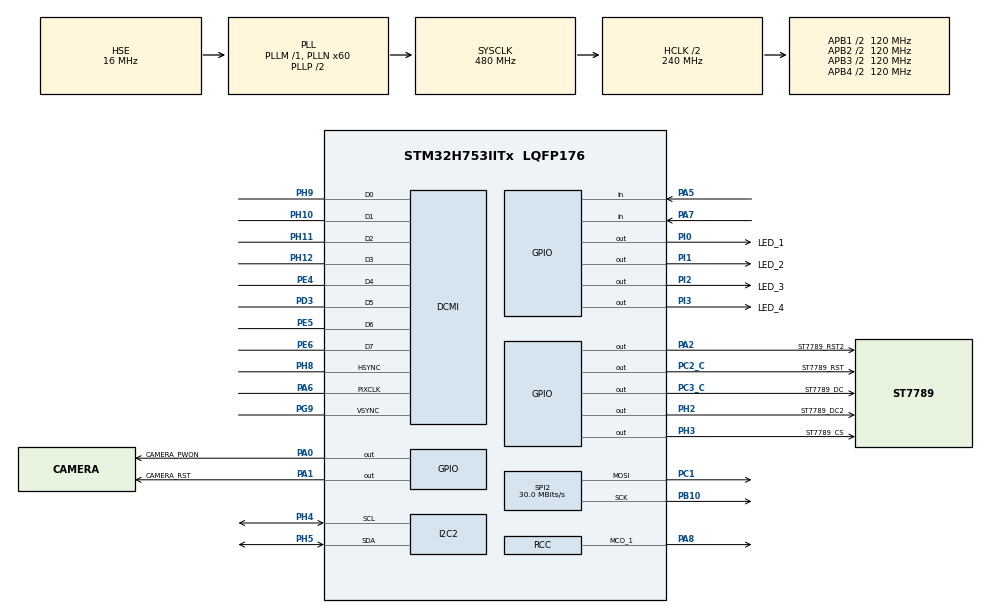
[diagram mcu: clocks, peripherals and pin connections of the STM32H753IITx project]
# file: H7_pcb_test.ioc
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CORTEX_M7.CPU_DCache=Enabled
CORTEX_M7.CPU_ICache=Enabled
Dma.DCMI.0.Direction=DMA_PERIPH_TO_MEMORY
Dma.DCMI.0.EventEnable=DISABLE
Dma.DCMI.0.FIFOMode=DMA_FIFOMODE_ENABLE
Dma.DCMI.0.FIFOThreshold=DMA_FIFO_THRESHOLD_FULL
Dma.DCMI.0.Instance=DMA2_Stream3
Dma.DCMI.0.MemBurst=DMA_MBURST_SINGLE
Dma.DCMI.0.MemDataAlignment=DMA_MDATAALIGN_WORD
Dma.DCMI.0.MemInc=DMA_MINC_ENABLE
Dma.DCMI.0.Mode=DMA_CIRCULAR
Dma.DCMI.0.PeriphBurst=DMA_PBURST_SINGLE
Dma.DCMI.0.PeriphDataAlignment=DMA_PDATAALIGN_WORD
Dma.DCMI.0.PeriphInc=DMA_PINC_DISABLE
Dma.DCMI.0.Polarity=HAL_DMAMUX_REQ_GEN_RISING
Dma.DCMI.0.Priority=DMA_PRIORITY_HIGH
Dma.DCMI.0.RequestNumber=1
Dma.DCMI.0.SignalID=NONE
Dma.DCMI.0.SyncEnable=DISABLE
Dma.DCMI.0.SyncPolarity=HAL_DMAMUX_SYNC_NO_EVENT
Dma.DCMI.0.SyncRequestNumber=1
Dma.DCMI.0.SyncSignalID=NONE
Dma.Request0=DCMI
I2C2.Timing=0x307075B1
Mcu.Family=STM32H7
Mcu.Name=STM32H753IITx
Mcu.Package=LQFP176
NVIC.DCMI_IRQn=true\:0\:0\:false\:false\:true\:true\:true
NVIC.DMA2D_IRQn=true\:0\:0\:false\:false\:true\:true\:true
NVIC.DMA2_Stream3_IRQn=true\:0\:0\:false\:false\:true\:false\:true
NVIC.PriorityGroup=NVIC_PRIORITYGROUP_4
NVIC.RCC_IRQn=true\:0\:0\:false\:false\:true\:true\:false
NVIC.SPI2_IRQn=true\:0\:0\:false\:false\:true\:true\:true
PA0.GPIO_Label=CAMERA_PWON
PA0.Signal=GPIO_Output
PA1.GPIO_Label=CAMERA_RST
PA1.PinState=GPIO_PIN_SET
PA1.Signal=GPIO_Output
PA10.Signal=USART1_RX
PA13\ (JTMS/SWDIO).Mode=Trace_Asynchronous_SW
PA13\ (JTMS/SWDIO).Signal=DEBUG_JTMS-SWDIO
PA14\ (JTCK/SWCLK).Mode=Trace_Asynchronous_SW
PA14\ (JTCK/SWCLK).Signal=DEBUG_JTCK-SWCLK
PA2.GPIO_Label=ST7789_RST2
PA2.GPIO_Speed=GPIO_SPEED_FREQ_VERY_HIGH
PA2.Signal=GPIO_Output
PA4.Signal=COMP_DAC11_group
PA5.Signal=GPIO_Input
PA6.Mode=Slave_8_bits_External_Synchro
PA6.Signal=DCMI_PIXCLK
PA7.Signal=GPIO_Input
PA8.GPIO_Speed=GPIO_SPEED_FREQ_VERY_HIGH
PA8.Mode=Clock-out-1
PA8.Signal=RCC_MCO_1
PA9.Signal=USART1_TX
PB0.Signal=ADCx_INN5
PB1.Signal=ADCx_INP5
PB10.GPIO_Speed=GPIO_SPEED_FREQ_VERY_HIGH
PB10.Mode=TX_Only_Simplex_Unidirect_Master
PB10.Signal=SPI2_SCK
PB14.Signal=USB_OTG_HS_DM
PB15.Signal=USB_OTG_HS_DP
PB3\ (JTDO/TRACESWO).Mode=Trace_Asynchronous_SW
PB3\ (JTDO/TRACESWO).Signal=DEBUG_JTDO-SWO
PB4\ (NJTRST).GPIO_Speed=GPIO_SPEED_FREQ_VERY_HIGH
PB4\ (NJTRST).Signal=SPI1_MISO
PB6.GPIO_Speed=GPIO_SPEED_FREQ_VERY_HIGH
PB6.Signal=I2C1_SCL
PB7.GPIO_Speed=GPIO_SPEED_FREQ_VERY_HIGH
PB7.Signal=I2C1_SDA
PB8.Signal=UART4_RX
PB9.Signal=UART4_TX
PC0.Signal=FMC_SDNWE
PC1.GPIO_Speed=GPIO_SPEED_FREQ_VERY_HIGH
PC1.Mode=TX_Only_Simplex_Unidirect_Master
PC1.Signal=SPI2_MOSI
PC2_C.GPIO_Label=ST7789_RST
PC2_C.Signal=GPIO_Output
PC3_C.GPIO_Label=ST7789_DC
PC3_C.Signal=GPIO_Output
PC4.Signal=ADCx_INP4
PC5.Signal=ADCx_INN4
PD0.Signal=FMC_D2_DA2
PD1.Signal=FMC_D3_DA3
PD10.Signal=FMC_D15_DA15
PD14.Signal=FMC_D0_DA0
PD15.Signal=FMC_D1_DA1
PD3.Mode=Slave_8_bits_External_Synchro
PD3.Signal=DCMI_D5
PD8.Signal=FMC_D13_DA13
PD9.Signal=FMC_D14_DA14
PE0.Signal=FMC_NBL0
PE1.Signal=FMC_NBL1
PE10.Signal=FMC_D7_DA7
PE11.Signal=FMC_D8_DA8
PE12.Signal=FMC_D9_DA9
PE13.Signal=FMC_D10_DA10
PE14.Signal=FMC_D11_DA11
PE15.Signal=FMC_D12_DA12
PE4.Mode=Slave_8_bits_External_Synchro
PE4.Signal=DCMI_D4
PE5.Mode=Slave_8_bits_External_Synchro
PE5.Signal=DCMI_D6
PE6.Mode=Slave_8_bits_External_Synchro
PE6.Signal=DCMI_D7
PE7.Signal=FMC_D4_DA4
PE8.Signal=FMC_D5_DA5
PE9.Signal=FMC_D6_DA6
PF0.Signal=FMC_A0
PF1.Signal=FMC_A1
PF10.Signal=QUADSPI_CLK
PF11.Signal=FMC_SDNRAS
PF12.Signal=FMC_A6
PF13.Signal=FMC_A7
PF14.Signal=FMC_A8
PF15.Signal=FMC_A9
PF2.Signal=FMC_A2
PF3.Signal=FMC_A3
PF4.Signal=FMC_A4
PF5.Signal=FMC_A5
PF8.Signal=QUADSPI_BK1_IO0
PF9.Signal=QUADSPI_BK1_IO1
PG0.Signal=FMC_A10
PG1.Signal=FMC_A11
PG15.Signal=FMC_SDNCAS
PG4.Signal=FMC_A14_BA0
PG5.Signal=FMC_A15_BA1
PG6.Signal=QUADSPI_BK1_NCS
PG8.Signal=FMC_SDCLK
PG9.Mode=Slave_8_bits_External_Synchro
PG9.Signal=DCMI_VSYNC
PH0-OSC_IN\ (PH0).Mode=HSE-External-Oscillator
PH0-OSC_IN\ (PH0).Signal=RCC_OSC_IN
PH1-OSC_OUT\ (PH1).Mode=HSE-External-Oscillator
PH1-OSC_OUT\ (PH1).Signal=RCC_OSC_OUT
PH10.Mode=Slave_8_bits_External_Synchro
PH10.Signal=DCMI_D1
PH11.Mode=Slave_8_bits_External_Synchro
PH11.Signal=DCMI_D2
PH12.Mode=Slave_8_bits_External_Synchro
PH12.Signal=DCMI_D3
PH2.GPIO_Label=ST7789_DC2
PH2.GPIO_Speed=GPIO_SPEED_FREQ_VERY_HIGH
PH2.Signal=GPIO_Output
PH3.GPIO_Label=ST7789_CS
PH3.Signal=GPIO_Output
PH4.GPIO_Speed=GPIO_SPEED_FREQ_VERY_HIGH
PH4.Mode=I2C
PH4.Signal=I2C2_SCL
PH5.GPIO_Speed=GPIO_SPEED_FREQ_VERY_HIGH
PH5.Mode=I2C
PH5.Signal=I2C2_SDA
PH6.Signal=FMC_SDNE1
PH7.Signal=FMC_SDCKE1
PH8.Mode=Slave_8_bits_External_Synchro
PH8.Signal=DCMI_HSYNC
PH9.Mode=Slave_8_bits_External_Synchro
PH9.Signal=DCMI_D0
PI0.GPIO_Label=LED_1
PI0.Signal=GPIO_Output
PI1.GPIO_Label=LED_2
PI1.Signal=GPIO_Output
PI2.GPIO_Label=LED_3
PI2.Signal=GPIO_Output
PI3.GPIO_Label=LED_4
PI3.Signal=GPIO_Output
ProjectManager.HeapSize=0x80000
ProjectManager.StackSize=0x40000
ProjectManager.TargetToolchain=STM32CubeIDE
RCC.ADCFreq_Value=150000000
RCC.APB1Freq_Value=120000000
RCC.APB2Freq_Value=120000000
RCC.APB3Freq_Value=120000000
RCC.APB4Freq_Value=120000000
RCC.CortexFreq_Value=480000000
RCC.D1PPRE=RCC_APB3_DIV2
RCC.D2PPRE1=RCC_APB1_DIV2
RCC.D2PPRE2=RCC_APB2_DIV2
RCC.D3PPRE=RCC_APB4_DIV2
RCC.DIVM1=1
RCC.DIVM2=1
RCC.DIVN1=60
RCC.DIVN2=9
RCC.DIVP2=1
RCC.HCLKFreq_Value=240000000
RCC.HPRE=RCC_HCLK_DIV2
RCC.HSE_VALUE=16000000
RCC.PLL2FRACN=3072
RCC.PLL3FRACN=0
RCC.PLLFRACN=0
RCC.PLLSourceVirtual=RCC_PLLSOURCE_HSE
RCC.RCC_MCODiv1=RCC_MCODIV_4
RCC.SYSCLKFreq_VALUE=480000000
RCC.SYSCLKSource=RCC_SYSCLKSOURCE_PLLCLK
RCC.USBFreq_Value=480000000
SH.ADCx_INN4.0=ADC1_INN4
SH.ADCx_INN5.0=ADC1_INN5
SH.ADCx_INP4.0=ADC1_INP4
SH.ADCx_INP5.0=ADC1_INP5
SH.COMP_DAC11_group.0=DAC1_OUT1
SH.FMC_A0.0=FMC_A0
SH.FMC_A1.0=FMC_A1
SH.FMC_A10.0=FMC_A10
SH.FMC_A11.0=FMC_A11
SH.FMC_A14_BA0.0=FMC_BA0
SH.FMC_A15_BA1.0=FMC_BA1
SH.FMC_A2.0=FMC_A2
SH.FMC_A3.0=FMC_A3
SH.FMC_A4.0=FMC_A4
SH.FMC_A5.0=FMC_A5
SH.FMC_A6.0=FMC_A6
SH.FMC_A7.0=FMC_A7
SH.FMC_A8.0=FMC_A8
SH.FMC_A9.0=FMC_A9
SH.FMC_D0_DA0.0=FMC_D0
SH.FMC_D10_DA10.0=FMC_D10
SH.FMC_D11_DA11.0=FMC_D11
SH.FMC_D12_DA12.0=FMC_D12
SH.FMC_D13_DA13.0=FMC_D13
SH.FMC_D14_DA14.0=FMC_D14
SH.FMC_D15_DA15.0=FMC_D15
SH.FMC_D1_DA1.0=FMC_D1
SH.FMC_D2_DA2.0=FMC_D2
SH.FMC_D3_DA3.0=FMC_D3
SH.FMC_D4_DA4.0=FMC_D4
SH.FMC_D5_DA5.0=FMC_D5
SH.FMC_D6_DA6.0=FMC_D6
SH.FMC_D7_DA7.0=FMC_D7
SH.FMC_D8_DA8.0=FMC_D8
SH.FMC_D9_DA9.0=FMC_D9
SH.FMC_NBL0.0=FMC_NBL0
SH.FMC_NBL1.0=FMC_NBL1
SH.FMC_SDCLK.0=FMC_SDCLK
SH.FMC_SDNCAS.0=FMC_SDNCAS
SH.FMC_SDNRAS.0=FMC_SDNRAS
SH.FMC_SDNWE.0=FMC_SDNWE
SPI2.BaudRatePrescaler=SPI_BAUDRATEPRESCALER_16
SPI2.CLKPhase=SPI_PHASE_2EDGE
SPI2.CLKPolarity=SPI_POLARITY_HIGH
SPI2.CalculateBaudRate=30.0 MBits/s
SPI2.DataSize=SPI_DATASIZE_8BIT
SPI2.Direction=SPI_DIRECTION_2LINES_TXONLY
SPI2.Mode=SPI_MODE_MASTER
SPI2.NSSPMode=SPI_NSS_PULSE_ENABLE
SPI2.VirtualType=VM_MASTER
STMicroelectronics.X-CUBE-AI.6.0.0.ActivationBufferSizeList=196608
STMicroelectronics.X-CUBE-AI.6.0.0.ApplicationCcDeviceJjApplication=ApplicationTemplate
STMicroelectronics.X-CUBE-AI.6.0.0.HeapSize=0x80000
STMicroelectronics.X-CUBE-AI.6.0.0.InternalRamActivationBufferMaxSize=AI_NETWORK_PHI_DATA_ACTIVATIONS_SIZE
STMicroelectronics.X-CUBE-AI.6.0.0.LatestDirectoryUsed-a21e6ea1308d1663e09b8736e93960652fec14e95994268603aebb4c5266737e=C\:\\Users\\alber\\Documents\\FBK\\Thesis\\H7_custom_pcb\\H7_pcb_tinyML_pose
STMicroelectronics.X-CUBE-AI.6.0.0.MaximumNumberOfInputLayer=1
STMicroelectronics.X-CUBE-AI.6.0.0.MaximumNumberOfOutputLayer=1
STMicroelectronics.X-CUBE-AI.6.0.0.MaximumSizeOfInputLayer=1
STMicroelectronics.X-CUBE-AI.6.0.0.MaximumSizeOfOutputLayer=AI_NETWORK_PHI_OUT_1_SIZE_BYTES
STMicroelectronics.X-CUBE-AI.6.0.0.ModelActualCompression-a21e6ea1308d1663e09b8736e93960652fec14e95994268603aebb4c5266737e=0.0
STMicroelectronics.X-CUBE-AI.6.0.0.ModelCompression-a21e6ea1308d1663e09b8736e93960652fec14e95994268603aebb4c5266737e=1
STMicroelectronics.X-CUBE-AI.6.0.0.ModelFlashOccupation-a21e6ea1308d1663e09b8736e93960652fec14e95994268603aebb4c5266737e=1931484
STMicroelectronics.X-CUBE-AI.6.0.0.ModelHashList=a21e6ea1308d1663e09b8736e93960652fec14e95994268603aebb4c5266737e
STMicroelectronics.X-CUBE-AI.6.0.0.ModelKind-a21e6ea1308d1663e09b8736e93960652fec14e95994268603aebb4c5266737e=TFLITE
STMicroelectronics.X-CUBE-AI.6.0.0.ModelMacc-a21e6ea1308d1663e09b8736e93960652fec14e95994268603aebb4c5266737e=68922683
STMicroelectronics.X-CUBE-AI.6.0.0.ModelName-a21e6ea1308d1663e09b8736e93960652fec14e95994268603aebb4c5266737e=network_phi
STMicroelectronics.X-CUBE-AI.6.0.0.ModelNameList=network_phi
STMicroelectronics.X-CUBE-AI.6.0.0.ModelRamOccupation-a21e6ea1308d1663e09b8736e93960652fec14e95994268603aebb4c5266737e=196608
STMicroelectronics.X-CUBE-AI.6.0.0.ModelStructureFile-a21e6ea1308d1663e09b8736e93960652fec14e95994268603aebb4c5266737e=best_integer_quant.tflite
STMicroelectronics.X-CUBE-AI.6.0.0.ModelType-a21e6ea1308d1663e09b8736e93960652fec14e95994268603aebb4c5266737e=STM32Cube.AI runtime
STMicroelectronics.X-CUBE-AI.6.0.0.StackSize=0x40000
STMicroelectronics.X-CUBE-AI.6.0.0.WorkingBufferStartAddrList=0xFFFFFFFF
STMicroelectronics.X-CUBE-AI.6.0.0.XAaCUBEAaAICcArtificialOoIntelligenceJjCore=true
STMicroelectronics.X-CUBE-AI.6.0.0.copyWeightToRam-a21e6ea1308d1663e09b8736e93960652fec14e95994268603aebb4c5266737e=false
STMicroelectronics.X-CUBE-AI.6.0.0.copyWeightToRam-fe454eaf4e44acb37a698f2f6c0a4dfcfedecad637e0d2c203a2bcb3ec975293=false
STMicroelectronics.X-CUBE-AI.6.0.0.customLayerConfigEnabled-a21e6ea1308d1663e09b8736e93960652fec14e95994268603aebb4c5266737e=false
STMicroelectronics.X-CUBE-AI.6.0.0.relocatableNetwork-fe454eaf4e44acb37a698f2f6c0a4dfcfedecad637e0d2c203a2bcb3ec975293=false
STMicroelectronics.X-CUBE-AI.6.0.0.splitWeigths-fe454eaf4e44acb37a698f2f6c0a4dfcfedecad637e0d2c203a2bcb3ec975293=false
STMicroelectronics.X-CUBE-AI.6.0.0.useInputAllocation-a21e6ea1308d1663e09b8736e93960652fec14e95994268603aebb4c5266737e=true
STMicroelectronics.X-CUBE-AI.6.0.0.useInputAllocation-fe454eaf4e44acb37a698f2f6c0a4dfcfedecad637e0d2c203a2bcb3ec975293=true
STMicroelectronics.X-CUBE-AI.6.0.0.useOutputAllocation-a21e6ea1308d1663e09b8736e93960652fec14e95994268603aebb4c5266737e=true
VP_CRC_VS_CRC.Mode=CRC_Activate
VP_DMA2D_VS_DMA2D.Mode=DMA2D_Activate
VP_STMicroelectronics.X-CUBE-AI_VS_ArtificialOoIntelligenceJjXAaCUBEAaAI_6.0.0.Mode=ArtificialOoIntelligenceJjXAaCUBEAaAI
VP_STMicroelectronics.X-CUBE-AI_VS_DeviceJjApplication_6.0.0.Mode=DeviceJjApplication
board=custom

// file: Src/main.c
/* USER CODE BEGIN Header */
/**
  ******************************************************************************
  * @file           : main.c
  * @brief          : Main program body
  ******************************************************************************
  * @attention
  *
  * <h2><center>&copy; Copyright (c) 2021 STMicroelectronics.
  * All rights reserved.</center></h2>
  *
  * This software component is licensed by ST under Ultimate Liberty license
  * SLA0044, the "License"; You may not use this file except in compliance with
  * the License. You may obtain a copy of the License at:
  *                             www.st.com/SLA0044
  *
  ******************************************************************************
  */
/* USER CODE END Header */

#include "main.h"
#include "app_x-cube-ai.h"

/* USER CODE BEGIN Includes */
#include "st7789.h"
#include "ov7670_driver.h"

/* USER CODE END Includes */

CRC_HandleTypeDef hcrc;

DCMI_HandleTypeDef hdcmi;
DMA_HandleTypeDef hdma_dcmi;

DMA2D_HandleTypeDef hdma2d;

I2C_HandleTypeDef hi2c2;

SPI_HandleTypeDef hspi2;

void SystemClock_Config(void);
static void MX_GPIO_Init(void);
static void MX_DMA_Init(void);
static void MX_DCMI_Init(void);
static void MX_DMA2D_Init(void);
static void MX_I2C2_Init(void);
static void MX_SPI2_Init(void);
static void MX_CRC_Init(void);
/* USER CODE BEGIN PFP */
float smooth_keypoints(float* keypoints, float* prev_keypoints, float confidence, float prev_confidence, int num_keypoints);

/* USER CODE END PFP */

int main(void)
{

  /* Enable I-Cache---------------------------------------------------------*/
  SCB_EnableICache();

  /* Enable D-Cache---------------------------------------------------------*/
  SCB_EnableDCache();

  /* MCU Configuration--------------------------------------------------------*/

  /* Reset of all peripherals, Initializes the Flash interface and the Systick. */
  HAL_Init();

  /* Configure the system clock */
  SystemClock_Config();

  /* Initialize all configured peripherals */
  MX_GPIO_Init();
  MX_DMA_Init();
  MX_DCMI_Init();
  MX_DMA2D_Init();
  MX_I2C2_Init();
  MX_SPI2_Init();
  MX_CRC_Init();
  MX_X_CUBE_AI_Init();
  /* USER CODE BEGIN 2 */
  ST7789_Init();
  CAMERA_Init(RESOLUTION_R320x240);
  CAMERA_ContinuousStart(RAW_FRAMEBUFFER);

  /* USER CODE END 2 */

  /* Infinite loop */
  /* USER CODE BEGIN WHILE */
  float box[4]={};
  float keypoints[51]={};
  ai_float confidence=0.0f;
  float prev_keypoints[51]={};
  ai_float prev_confidence=0.0f;

  while (1)
  {
    HAL_GPIO_TogglePin(LED_1_GPIO_Port, LED_1_Pin);
    // HAL_Delay(1000);
    // ST7789_FillScreen(320, 240, RAW_FRAMEBUFFER);
    /* USER CODE END WHILE */

  // MX_X_CUBE_AI_Process();
    /* USER CODE BEGIN 3 */
    confidence = (float)(NN_Run_Inference(box, keypoints));
    ST7789_ShowImage2x(120,120, CAMERA_DUAL_BUFF);
    confidence = smooth_keypoints(keypoints, prev_keypoints, confidence, prev_confidence, 19);
    if (confidence>20){
      plot_keypoints(keypoints, 19, 0);
    }
    //plot_all_keypoints(out_data, 19, 10);
  }
  /* USER CODE END 3 */
}

void SystemClock_Config(void)
{
  RCC_OscInitTypeDef RCC_OscInitStruct = {0};
  RCC_ClkInitTypeDef RCC_ClkInitStruct = {0};
  RCC_PeriphCLKInitTypeDef PeriphClkInitStruct = {0};

  /** Supply configuration update enable
  */
  HAL_PWREx_ConfigSupply(PWR_LDO_SUPPLY);
  /** Configure the main internal regulator output voltage
  */
  __HAL_PWR_VOLTAGESCALING_CONFIG(PWR_REGULATOR_VOLTAGE_SCALE0);

  while(!__HAL_PWR_GET_FLAG(PWR_FLAG_VOSRDY)) {}
  /** Initializes the CPU, AHB and APB busses clocks
  */
  RCC_OscInitStruct.OscillatorType = RCC_OSCILLATORTYPE_HSI|RCC_OSCILLATORTYPE_HSE;
  RCC_OscInitStruct.HSEState = RCC_HSE_ON;
  RCC_OscInitStruct.HSIState = RCC_HSI_DIV1;
  RCC_OscInitStruct.HSICalibrationValue = RCC_HSICALIBRATION_DEFAULT;
  RCC_OscInitStruct.PLL.PLLState = RCC_PLL_ON;
  RCC_OscInitStruct.PLL.PLLSource = RCC_PLLSOURCE_HSE;
  RCC_OscInitStruct.PLL.PLLM = 1;
  RCC_OscInitStruct.PLL.PLLN = 60;
  RCC_OscInitStruct.PLL.PLLP = 2;
  RCC_OscInitStruct.PLL.PLLQ = 2;
  RCC_OscInitStruct.PLL.PLLR = 2;
  RCC_OscInitStruct.PLL.PLLRGE = RCC_PLL1VCIRANGE_3;
  RCC_OscInitStruct.PLL.PLLVCOSEL = RCC_PLL1VCOWIDE;
  RCC_OscInitStruct.PLL.PLLFRACN = 0;
  if (HAL_RCC_OscConfig(&RCC_OscInitStruct) != HAL_OK)
  {
    Error_Handler();
  }
  /** Initializes the CPU, AHB and APB busses clocks
  */
  RCC_ClkInitStruct.ClockType = RCC_CLOCKTYPE_HCLK|RCC_CLOCKTYPE_SYSCLK
                              |RCC_CLOCKTYPE_PCLK1|RCC_CLOCKTYPE_PCLK2
                              |RCC_CLOCKTYPE_D3PCLK1|RCC_CLOCKTYPE_D1PCLK1;
  RCC_ClkInitStruct.SYSCLKSource = RCC_SYSCLKSOURCE_PLLCLK;
  RCC_ClkInitStruct.SYSCLKDivider = RCC_SYSCLK_DIV1;
  RCC_ClkInitStruct.AHBCLKDivider = RCC_HCLK_DIV2;
  RCC_ClkInitStruct.APB3CLKDivider = RCC_APB3_DIV2;
  RCC_ClkInitStruct.APB1CLKDivider = RCC_APB1_DIV2;
  RCC_ClkInitStruct.APB2CLKDivider = RCC_APB2_DIV2;
  RCC_ClkInitStruct.APB4CLKDivider = RCC_APB4_DIV2;

  if (HAL_RCC_ClockConfig(&RCC_ClkInitStruct, FLASH_LATENCY_4) != HAL_OK)
  {
    Error_Handler();
  }
  PeriphClkInitStruct.PeriphClockSelection = RCC_PERIPHCLK_SPI2|RCC_PERIPHCLK_I2C2;
  PeriphClkInitStruct.Spi123ClockSelection = RCC_SPI123CLKSOURCE_PLL;
  PeriphClkInitStruct.I2c123ClockSelection = RCC_I2C123CLKSOURCE_D2PCLK1;
  if (HAL_RCCEx_PeriphCLKConfig(&PeriphClkInitStruct) != HAL_OK)
  {
    Error_Handler();
  }
  HAL_RCC_MCOConfig(RCC_MCO1, RCC_MCO1SOURCE_HSI, RCC_MCODIV_4);
}

static void MX_CRC_Init(void)
{

  hcrc.Instance = CRC;
  hcrc.Init.DefaultPolynomialUse = DEFAULT_POLYNOMIAL_ENABLE;
  hcrc.Init.DefaultInitValueUse = DEFAULT_INIT_VALUE_ENABLE;
  hcrc.Init.InputDataInversionMode = CRC_INPUTDATA_INVERSION_NONE;
  hcrc.Init.OutputDataInversionMode = CRC_OUTPUTDATA_INVERSION_DISABLE;
  hcrc.InputDataFormat = CRC_INPUTDATA_FORMAT_BYTES;
  if (HAL_CRC_Init(&hcrc) != HAL_OK)
  {
    Error_Handler();
  }

}

static void MX_DCMI_Init(void)
{

  hdcmi.Instance = DCMI;
  hdcmi.Init.SynchroMode = DCMI_SYNCHRO_HARDWARE;
  hdcmi.Init.PCKPolarity = DCMI_PCKPOLARITY_FALLING;
  hdcmi.Init.VSPolarity = DCMI_VSPOLARITY_LOW;
  hdcmi.Init.HSPolarity = DCMI_HSPOLARITY_LOW;
  hdcmi.Init.CaptureRate = DCMI_CR_ALL_FRAME;
  hdcmi.Init.ExtendedDataMode = DCMI_EXTEND_DATA_8B;
  hdcmi.Init.JPEGMode = DCMI_JPEG_DISABLE;
  hdcmi.Init.ByteSelectMode = DCMI_BSM_ALL;
  hdcmi.Init.ByteSelectStart = DCMI_OEBS_ODD;
  hdcmi.Init.LineSelectMode = DCMI_LSM_ALL;
  hdcmi.Init.LineSelectStart = DCMI_OELS_ODD;
  if (HAL_DCMI_Init(&hdcmi) != HAL_OK)
  {
    Error_Handler();
  }

}

static void MX_DMA2D_Init(void)
{

  hdma2d.Instance = DMA2D;
  hdma2d.Init.Mode = DMA2D_M2M;
  hdma2d.Init.ColorMode = DMA2D_OUTPUT_ARGB8888;
  hdma2d.Init.OutputOffset = 0;
  hdma2d.Init.BytesSwap = DMA2D_BYTES_REGULAR;
  hdma2d.Init.LineOffsetMode = DMA2D_LOM_PIXELS;
  hdma2d.LayerCfg[1].InputOffset = 0;
  hdma2d.LayerCfg[1].InputColorMode = DMA2D_INPUT_ARGB8888;
  hdma2d.LayerCfg[1].AlphaMode = DMA2D_NO_MODIF_ALPHA;
  hdma2d.LayerCfg[1].InputAlpha = 0;
  hdma2d.LayerCfg[1].AlphaInverted = DMA2D_REGULAR_ALPHA;
  hdma2d.LayerCfg[1].RedBlueSwap = DMA2D_RB_REGULAR;
  hdma2d.LayerCfg[1].ChromaSubSampling = DMA2D_NO_CSS;
  if (HAL_DMA2D_Init(&hdma2d) != HAL_OK)
  {
    Error_Handler();
  }
  if (HAL_DMA2D_ConfigLayer(&hdma2d, 1) != HAL_OK)
  {
    Error_Handler();
  }

}

static void MX_I2C2_Init(void)
{

  hi2c2.Instance = I2C2;
  hi2c2.Init.Timing = 0x307075B1;
  hi2c2.Init.OwnAddress1 = 0;
  hi2c2.Init.AddressingMode = I2C_ADDRESSINGMODE_7BIT;
  hi2c2.Init.DualAddressMode = I2C_DUALADDRESS_DISABLE;
  hi2c2.Init.OwnAddress2 = 0;
  hi2c2.Init.OwnAddress2Masks = I2C_OA2_NOMASK;
  hi2c2.Init.GeneralCallMode = I2C_GENERALCALL_DISABLE;
  hi2c2.Init.NoStretchMode = I2C_NOSTRETCH_DISABLE;
  if (HAL_I2C_Init(&hi2c2) != HAL_OK)
  {
    Error_Handler();
  }
  /** Configure Analogue filter
  */
  if (HAL_I2CEx_ConfigAnalogFilter(&hi2c2, I2C_ANALOGFILTER_ENABLE) != HAL_OK)
  {
    Error_Handler();
  }
  /** Configure Digital filter
  */
  if (HAL_I2CEx_ConfigDigitalFilter(&hi2c2, 0) != HAL_OK)
  {
    Error_Handler();
  }

}

static void MX_SPI2_Init(void)
{

  /* SPI2 parameter configuration*/
  hspi2.Instance = SPI2;
  hspi2.Init.Mode = SPI_MODE_MASTER;
  hspi2.Init.Direction = SPI_DIRECTION_2LINES_TXONLY;
  hspi2.Init.DataSize = SPI_DATASIZE_8BIT;
  hspi2.Init.CLKPolarity = SPI_POLARITY_HIGH;
  hspi2.Init.CLKPhase = SPI_PHASE_2EDGE;
  hspi2.Init.NSS = SPI_NSS_SOFT;
  hspi2.Init.BaudRatePrescaler = SPI_BAUDRATEPRESCALER_16;
  hspi2.Init.FirstBit = SPI_FIRSTBIT_MSB;
  hspi2.Init.TIMode = SPI_TIMODE_DISABLE;
  hspi2.Init.CRCCalculation = SPI_CRCCALCULATION_DISABLE;
  hspi2.Init.CRCPolynomial = 0x0;
  hspi2.Init.NSSPMode = SPI_NSS_PULSE_ENABLE;
  hspi2.Init.NSSPolarity = SPI_NSS_POLARITY_LOW;
  hspi2.Init.FifoThreshold = SPI_FIFO_THRESHOLD_01DATA;
  hspi2.Init.TxCRCInitializationPattern = SPI_CRC_INITIALIZATION_ALL_ZERO_PATTERN;
  hspi2.Init.RxCRCInitializationPattern = SPI_CRC_INITIALIZATION_ALL_ZERO_PATTERN;
  hspi2.Init.MasterSSIdleness = SPI_MASTER_SS_IDLENESS_00CYCLE;
  hspi2.Init.MasterInterDataIdleness = SPI_MASTER_INTERDATA_IDLENESS_00CYCLE;
  hspi2.Init.MasterReceiverAutoSusp = SPI_MASTER_RX_AUTOSUSP_DISABLE;
  hspi2.Init.MasterKeepIOState = SPI_MASTER_KEEP_IO_STATE_DISABLE;
  hspi2.Init.IOSwap = SPI_IO_SWAP_DISABLE;
  if (HAL_SPI_Init(&hspi2) != HAL_OK)
  {
    Error_Handler();
  }

}

static void MX_DMA_Init(void)
{

  /* DMA controller clock enable */
  __HAL_RCC_DMA2_CLK_ENABLE();

  /* DMA interrupt init */
  /* DMA2_Stream3_IRQn interrupt configuration */
  HAL_NVIC_SetPriority(DMA2_Stream3_IRQn, 0, 0);
  HAL_NVIC_EnableIRQ(DMA2_Stream3_IRQn);

}

static void MX_GPIO_Init(void)
{
  GPIO_InitTypeDef GPIO_InitStruct = {0};

  /* GPIO Ports Clock Enable */
  __HAL_RCC_GPIOE_CLK_ENABLE();
  __HAL_RCC_GPIOF_CLK_ENABLE();
  __HAL_RCC_GPIOH_CLK_ENABLE();
  __HAL_RCC_GPIOC_CLK_ENABLE();
  __HAL_RCC_GPIOA_CLK_ENABLE();
  __HAL_RCC_GPIOB_CLK_ENABLE();
  __HAL_RCC_GPIOG_CLK_ENABLE();
  __HAL_RCC_GPIOD_CLK_ENABLE();
  __HAL_RCC_GPIOI_CLK_ENABLE();

  /*Configure GPIO pin Output Level */
  HAL_GPIO_WritePin(GPIOC, ST7789_RST_Pin|ST7789_DC_Pin, GPIO_PIN_RESET);

  /*Configure GPIO pin Output Level */
  HAL_GPIO_WritePin(GPIOA, CAMERA_PWON_Pin|ST7789_RST2_Pin, GPIO_PIN_RESET);

  /*Configure GPIO pin Output Level */
  HAL_GPIO_WritePin(CAMERA_RST_GPIO_Port, CAMERA_RST_Pin, GPIO_PIN_SET);

  /*Configure GPIO pin Output Level */
  HAL_GPIO_WritePin(GPIOH, ST7789_DC2_Pin|ST7789_CS_Pin, GPIO_PIN_RESET);

  /*Configure GPIO pin Output Level */
  HAL_GPIO_WritePin(GPIOI, LED_1_Pin|LED_2_Pin|LED_3_Pin|LED_4_Pin, GPIO_PIN_RESET);

  /*Configure GPIO pins : PF0 PF1 PF2 PF3
                           PF4 PF5 PF11 PF12
                           PF13 PF14 PF15 */
  GPIO_InitStruct.Pin = GPIO_PIN_0|GPIO_PIN_1|GPIO_PIN_2|GPIO_PIN_3
                          |GPIO_PIN_4|GPIO_PIN_5|GPIO_PIN_11|GPIO_PIN_12
                          |GPIO_PIN_13|GPIO_PIN_14|GPIO_PIN_15;
  GPIO_InitStruct.Mode = GPIO_MODE_AF_PP;
  GPIO_InitStruct.Pull = GPIO_NOPULL;
  GPIO_InitStruct.Speed = GPIO_SPEED_FREQ_VERY_HIGH;
  GPIO_InitStruct.Alternate = GPIO_AF12_FMC;
  HAL_GPIO_Init(GPIOF, &GPIO_InitStruct);

  /*Configure GPIO pins : PF8 PF9 */
  GPIO_InitStruct.Pin = GPIO_PIN_8|GPIO_PIN_9;
  GPIO_InitStruct.Mode = GPIO_MODE_AF_PP;
  GPIO_InitStruct.Pull = GPIO_NOPULL;
  GPIO_InitStruct.Speed = GPIO_SPEED_FREQ_LOW;
  GPIO_InitStruct.Alternate = GPIO_AF10_QUADSPI;
  HAL_GPIO_Init(GPIOF, &GPIO_InitStruct);

  /*Configure GPIO pin : PF10 */
  GPIO_InitStruct.Pin = GPIO_PIN_10;
  GPIO_InitStruct.Mode = GPIO_MODE_AF_PP;
  GPIO_InitStruct.Pull = GPIO_NOPULL;
  GPIO_InitStruct.Speed = GPIO_SPEED_FREQ_LOW;
  GPIO_InitStruct.Alternate = GPIO_AF9_QUADSPI;
  HAL_GPIO_Init(GPIOF, &GPIO_InitStruct);

  /*Configure GPIO pin : PC0 */
  GPIO_InitStruct.Pin = GPIO_PIN_0;
  GPIO_InitStruct.Mode = GPIO_MODE_AF_PP;
  GPIO_InitStruct.Pull = GPIO_NOPULL;
  GPIO_InitStruct.Speed = GPIO_SPEED_FREQ_VERY_HIGH;
  GPIO_InitStruct.Alternate = GPIO_AF12_FMC;
  HAL_GPIO_Init(GPIOC, &GPIO_InitStruct);

  /*Configure GPIO pins : ST7789_RST_Pin ST7789_DC_Pin */
  GPIO_InitStruct.Pin = ST7789_RST_Pin|ST7789_DC_Pin;
  GPIO_InitStruct.Mode = GPIO_MODE_OUTPUT_PP;
  GPIO_InitStruct.Pull = GPIO_NOPULL;
  GPIO_InitStruct.Speed = GPIO_SPEED_FREQ_LOW;
  HAL_GPIO_Init(GPIOC, &GPIO_InitStruct);

  /*Configure GPIO pins : CAMERA_PWON_Pin CAMERA_RST_Pin */
  GPIO_InitStruct.Pin = CAMERA_PWON_Pin|CAMERA_RST_Pin;
  GPIO_InitStruct.Mode = GPIO_MODE_OUTPUT_PP;
  GPIO_InitStruct.Pull = GPIO_NOPULL;
  GPIO_InitStruct.Speed = GPIO_SPEED_FREQ_LOW;
  HAL_GPIO_Init(GPIOA, &GPIO_InitStruct);

  /*Configure GPIO pin : ST7789_RST2_Pin */
  GPIO_InitStruct.Pin = ST7789_RST2_Pin;
  GPIO_InitStruct.Mode = GPIO_MODE_OUTPUT_PP;
  GPIO_InitStruct.Pull = GPIO_NOPULL;
  GPIO_InitStruct.Speed = GPIO_SPEED_FREQ_VERY_HIGH;
  HAL_GPIO_Init(ST7789_RST2_GPIO_Port, &GPIO_InitStruct);

  /*Configure GPIO pin : ST7789_DC2_Pin */
  GPIO_InitStruct.Pin = ST7789_DC2_Pin;
  GPIO_InitStruct.Mode = GPIO_MODE_OUTPUT_PP;
  GPIO_InitStruct.Pull = GPIO_NOPULL;
  GPIO_InitStruct.Speed = GPIO_SPEED_FREQ_VERY_HIGH;
  HAL_GPIO_Init(ST7789_DC2_GPIO_Port, &GPIO_InitStruct);

  /*Configure GPIO pin : ST7789_CS_Pin */
  GPIO_InitStruct.Pin = ST7789_CS_Pin;
  GPIO_InitStruct.Mode = GPIO_MODE_OUTPUT_PP;
  GPIO_InitStruct.Pull = GPIO_NOPULL;
  GPIO_InitStruct.Speed = GPIO_SPEED_FREQ_LOW;
  HAL_GPIO_Init(ST7789_CS_GPIO_Port, &GPIO_InitStruct);

  /*Configure GPIO pin : PA4 */
  GPIO_InitStruct.Pin = GPIO_PIN_4;
  GPIO_InitStruct.Mode = GPIO_MODE_ANALOG;
  GPIO_InitStruct.Pull = GPIO_NOPULL;
  HAL_GPIO_Init(GPIOA, &GPIO_InitStruct);

  /*Configure GPIO pins : PA5 PA7 */
  GPIO_InitStruct.Pin = GPIO_PIN_5|GPIO_PIN_7;
  GPIO_InitStruct.Mode = GPIO_MODE_INPUT;
  GPIO_InitStruct.Pull = GPIO_NOPULL;
  HAL_GPIO_Init(GPIOA, &GPIO_InitStruct);

  /*Configure GPIO pins : PC4 PC5 */
  GPIO_InitStruct.Pin = GPIO_PIN_4|GPIO_PIN_5;
  GPIO_InitStruct.Mode = GPIO_MODE_ANALOG;
  GPIO_InitStruct.Pull = GPIO_NOPULL;
  HAL_GPIO_Init(GPIOC, &GPIO_InitStruct);

  /*Configure GPIO pins : PB0 PB1 */
  GPIO_InitStruct.Pin = GPIO_PIN_0|GPIO_PIN_1;
  GPIO_InitStruct.Mode = GPIO_MODE_ANALOG;
  GPIO_InitStruct.Pull = GPIO_NOPULL;
  HAL_GPIO_Init(GPIOB, &GPIO_InitStruct);

  /*Configure GPIO pins : PG0 PG1 PG4 PG5
                           PG8 PG15 */
  GPIO_InitStruct.Pin = GPIO_PIN_0|GPIO_PIN_1|GPIO_PIN_4|GPIO_PIN_5
                          |GPIO_PIN_8|GPIO_PIN_15;
  GPIO_InitStruct.Mode = GPIO_MODE_AF_PP;
  GPIO_InitStruct.Pull = GPIO_NOPULL;
  GPIO_InitStruct.Speed = GPIO_SPEED_FREQ_VERY_HIGH;
  GPIO_InitStruct.Alternate = GPIO_AF12_FMC;
  HAL_GPIO_Init(GPIOG, &GPIO_InitStruct);

  /*Configure GPIO pins : PE7 PE8 PE9 PE10
                           PE11 PE12 PE13 PE14
                           PE15 PE0 PE1 */
  GPIO_InitStruct.Pin = GPIO_PIN_7|GPIO_PIN_8|GPIO_PIN_9|GPIO_PIN_10
                          |GPIO_PIN_11|GPIO_PIN_12|GPIO_PIN_13|GPIO_PIN_14
                          |GPIO_PIN_15|GPIO_PIN_0|GPIO_PIN_1;
  GPIO_InitStruct.Mode = GPIO_MODE_AF_PP;
  GPIO_InitStruct.Pull = GPIO_NOPULL;
  GPIO_InitStruct.Speed = GPIO_SPEED_FREQ_VERY_HIGH;
  GPIO_InitStruct.Alternate = GPIO_AF12_FMC;
  HAL_GPIO_Init(GPIOE, &GPIO_InitStruct);

  /*Configure GPIO pins : PH6 PH7 */
  GPIO_InitStruct.Pin = GPIO_PIN_6|GPIO_PIN_7;
  GPIO_InitStruct.Mode = GPIO_MODE_AF_PP;
  GPIO_InitStruct.Pull = GPIO_NOPULL;
  GPIO_InitStruct.Speed = GPIO_SPEED_FREQ_VERY_HIGH;
  GPIO_InitStruct.Alternate = GPIO_AF12_FMC;
  HAL_GPIO_Init(GPIOH, &GPIO_InitStruct);

  /*Configure GPIO pins : PB14 PB15 */
  GPIO_InitStruct.Pin = GPIO_PIN_14|GPIO_PIN_15;
  GPIO_InitStruct.Mode = GPIO_MODE_AF_PP;
  GPIO_InitStruct.Pull = GPIO_NOPULL;
  GPIO_InitStruct.Speed = GPIO_SPEED_FREQ_LOW;
  GPIO_InitStruct.Alternate = GPIO_AF12_OTG2_FS;
  HAL_GPIO_Init(GPIOB, &GPIO_InitStruct);

  /*Configure GPIO pins : PD8 PD9 PD10 PD14
                           PD15 PD0 PD1 */
  GPIO_InitStruct.Pin = GPIO_PIN_8|GPIO_PIN_9|GPIO_PIN_10|GPIO_PIN_14
                          |GPIO_PIN_15|GPIO_PIN_0|GPIO_PIN_1;
  GPIO_InitStruct.Mode = GPIO_MODE_AF_PP;
  GPIO_InitStruct.Pull = GPIO_NOPULL;
  GPIO_InitStruct.Speed = GPIO_SPEED_FREQ_VERY_HIGH;
  GPIO_InitStruct.Alternate = GPIO_AF12_FMC;
  HAL_GPIO_Init(GPIOD, &GPIO_InitStruct);

  /*Configure GPIO pin : PG6 */
  GPIO_InitStruct.Pin = GPIO_PIN_6;
  GPIO_InitStruct.Mode = GPIO_MODE_AF_PP;
  GPIO_InitStruct.Pull = GPIO_NOPULL;
  GPIO_InitStruct.Speed = GPIO_SPEED_FREQ_LOW;
  GPIO_InitStruct.Alternate = GPIO_AF10_QUADSPI;
  HAL_GPIO_Init(GPIOG, &GPIO_InitStruct);

  /*Configure GPIO pin : PA8 */
  GPIO_InitStruct.Pin = GPIO_PIN_8;
  GPIO_InitStruct.Mode = GPIO_MODE_AF_PP;
  GPIO_InitStruct.Pull = GPIO_NOPULL;
  GPIO_InitStruct.Speed = GPIO_SPEED_FREQ_VERY_HIGH;
  GPIO_InitStruct.Alternate = GPIO_AF0_MCO;
  HAL_GPIO_Init(GPIOA, &GPIO_InitStruct);

  /*Configure GPIO pins : PA9 PA10 */
  GPIO_InitStruct.Pin = GPIO_PIN_9|GPIO_PIN_10;
  GPIO_InitStruct.Mode = GPIO_MODE_AF_PP;
  GPIO_InitStruct.Pull = GPIO_NOPULL;
  GPIO_InitStruct.Speed = GPIO_SPEED_FREQ_LOW;
  GPIO_InitStruct.Alternate = GPIO_AF7_USART1;
  HAL_GPIO_Init(GPIOA, &GPIO_InitStruct);

  /*Configure GPIO pins : LED_1_Pin LED_2_Pin LED_3_Pin LED_4_Pin */
  GPIO_InitStruct.Pin = LED_1_Pin|LED_2_Pin|LED_3_Pin|LED_4_Pin;
  GPIO_InitStruct.Mode = GPIO_MODE_OUTPUT_PP;
  GPIO_InitStruct.Pull = GPIO_NOPULL;
  GPIO_InitStruct.Speed = GPIO_SPEED_FREQ_LOW;
  HAL_GPIO_Init(GPIOI, &GPIO_InitStruct);

  /*Configure GPIO pin : PB4 */
  GPIO_InitStruct.Pin = GPIO_PIN_4;
  GPIO_InitStruct.Mode = GPIO_MODE_AF_PP;
  GPIO_InitStruct.Pull = GPIO_NOPULL;
  GPIO_InitStruct.Speed = GPIO_SPEED_FREQ_VERY_HIGH;
  GPIO_InitStruct.Alternate = GPIO_AF5_SPI1;
  HAL_GPIO_Init(GPIOB, &GPIO_InitStruct);

  /*Configure GPIO pins : PB6 PB7 */
  GPIO_InitStruct.Pin = GPIO_PIN_6|GPIO_PIN_7;
  GPIO_InitStruct.Mode = GPIO_MODE_AF_OD;
  GPIO_InitStruct.Pull = GPIO_NOPULL;
  GPIO_InitStruct.Speed = GPIO_SPEED_FREQ_VERY_HIGH;
  GPIO_InitStruct.Alternate = GPIO_AF4_I2C1;
  HAL_GPIO_Init(GPIOB, &GPIO_InitStruct);

  /*Configure GPIO pins : PB8 PB9 */
  GPIO_InitStruct.Pin = GPIO_PIN_8|GPIO_PIN_9;
  GPIO_InitStruct.Mode = GPIO_MODE_AF_PP;
  GPIO_InitStruct.Pull = GPIO_NOPULL;
  GPIO_InitStruct.Speed = GPIO_SPEED_FREQ_LOW;
  GPIO_InitStruct.Alternate = GPIO_AF8_UART4;
  HAL_GPIO_Init(GPIOB, &GPIO_InitStruct);

}

/* USER CODE BEGIN 4 */
float smooth_keypoints(float* keypoints, float* prev_keypoints, float confidence, float prev_confidence, int num_keypoints){
  for (int i = 0; i < num_keypoints; i++) {
    float kpt_x = keypoints[2*i];
    float kpt_y = keypoints[2*i+1];
    float prev_kpt_x = prev_keypoints[2*i];
    float prev_kpt_y = prev_keypoints[2*i+1];

    keypoints[2*i] = (kpt_x*confidence + prev_kpt_x*prev_confidence)/(confidence+prev_confidence);
    keypoints[2*i+1] = (kpt_y*confidence + prev_kpt_y*prev_confidence)/(confidence+prev_confidence);
  }
  return (confidence+prev_confidence)/2;
}

#define MIN(a,b) (((a)<(b))?(a):(b))
#define MAX(a,b) (((a)>(b))?(a):(b))
#define CLIP(a,b,c) MAX(MIN(a,c),b)

void plot_keypoints(float* keypoints, int num_keypoints, float threshold) {
    // for (int i = 0; i < num_keypoints; ++i) {
    //     int x = CLIP((int)((keypoints[3*i]*240)/128), 0, ST7789_WIDTH);
    //     int y = CLIP((int)((keypoints[3*i+1]*240)/128), 0, ST7789_HEIGHT);
    //     float conf = keypoints[3*i+2];
    //     ST7789_DrawCircle(x, y, 5, BRED);
    // }

    int sk[] = {15,13,  13,11,  16,14,  14,12,  11,12, 5,11,   6,12,   5,6,    5,7,    6,8,    7,9,    8,10, 1,2,    0,1,    0,2,    1,3,    2,4,    3,5,    4,6};
    int num_sk = 19;

    for (int i = 0; i < num_sk; i++) {
        int x1 = CLIP((int)((keypoints[3*sk[2*i]]*240)/128), 0, ST7789_WIDTH);
        int y1 = CLIP((int)((keypoints[3*sk[2*i]+1]*240)/128), 0, ST7789_HEIGHT);
        int x2 = CLIP((int)((keypoints[3*sk[2*i+1]]*240)/128), 0, ST7789_WIDTH);
        int y2 = CLIP((int)((keypoints[3*sk[2*i+1]+1]*240)/128), 0, ST7789_HEIGHT);
        // float conf1 = keypoints[3*sk[2*i]+2];
        // float conf2 = keypoints[3*sk[2*i+1]+2];
        ST7789_DrawLine(x1, y1, x2, y2, GRED);
    }
}

void plot_all_keypoints(float all_data[56][16], int num_keypoints, float threshold) {
    for (int j = 0; j<16; j++){

      float keypoints[51]={};
      float c = all_data[4][j];
      if (c<0.1){
        continue;}
      c = (c+1);
      for (uint32_t i = 5; i < 56; i++) {
        keypoints[i-5]=all_data[i][j];
      }

      for (int i = 0; i < num_keypoints; i++) {
          int x = CLIP((int)((keypoints[3*i]*240)/64), 0, ST7789_WIDTH);
          int y = CLIP((int)((keypoints[3*i+1]*240)/64), 0, ST7789_HEIGHT);
          float conf = keypoints[3*i+2];
          if (conf > 10.0f) {
              //ST7789_DrawCircle(x, y, 5, BRED);
          }
      }

      int sk[] = {15,13,  13,11,  16,14,  14,12,  11,12, 5,11,   6,12,   5,6,    5,7,    6,8,    7,9,    8,10, 1,2,    0,1,    0,2,    1,3,    2,4,    3,5,    4,6};
      int num_sk = 19;

      for (int i = 0; i < num_sk; i++) {
          int x1 = CLIP((int)((keypoints[3*sk[2*i]]*240)/64), 0, ST7789_WIDTH);
          int y1 = CLIP((int)((keypoints[3*sk[2*i]+1]*240)/64), 0, ST7789_HEIGHT);
          int x2 = CLIP((int)((keypoints[3*sk[2*i+1]]*240)/64), 0, ST7789_WIDTH);
          int y2 = CLIP((int)((keypoints[3*sk[2*i+1]+1]*240)/64), 0, ST7789_HEIGHT);
          float conf1 = keypoints[3*sk[2*i]+2];
          float conf2 = keypoints[3*sk[2*i+1]+2];
          if (conf1 > 10.0f && conf2 > 10.0f) {
              ST7789_DrawLine(x1, y1, x2, y2, BRED);
          }
      }
    }
}

/* USER CODE END 4 */

void Error_Handler(void)
{
}

/************************ (C) COPYRIGHT STMicroelectronics *****END OF FILE****/
